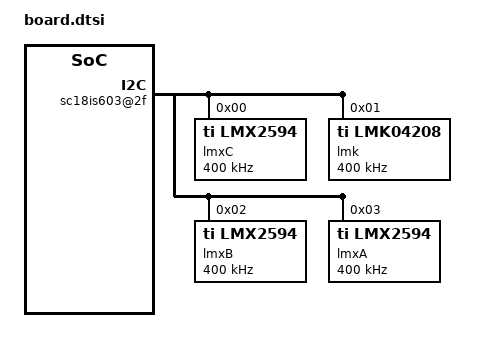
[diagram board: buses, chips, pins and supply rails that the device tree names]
/* ZCU111 board-specific device-tree nodes (appended to the SDT base dts). */

/ {
	reserved-memory {
		#address-cells = <2>;
		#size-cells = <2>;
		ranges;
		linux,cma {
			compatible = "shared-dma-pool";
			reusable;
			size = <0x0 0x20000000>;
			alignment = <0x0 0x2000>;
			/* Pin the cma pool to the low 2 GB DDR bank so the FPGA-manager
			 * bitstream DMA gets DMA-reachable contiguous memory. */
			alloc-ranges = <0x0 0x0 0x0 0x80000000>;
			linux,cma-default;
		};
	};
};

&{/axi/i2c@ff030000/i2c-mux@74/i2c@5/sc18is603@2f} {
	#address-cells = <0x1>;
	#size-cells = <0x0>;
	lmxC@0 {
		compatible = "ti,lmx2594";
		reg = <0x0>;
		spi-max-frequency = <400000>;
		num_bytes = <4>;
	};
	lmk@1 {
		compatible = "ti,lmk04208";
		reg = <0x1>;
		spi-max-frequency = <400000>;
		num_bytes = <4>;
	};
	lmxB@2 {
		compatible = "ti,lmx2594";
		reg = <0x2>;
		spi-max-frequency = <400000>;
		num_bytes = <4>;
	};
	lmxA@3 {
		compatible = "ti,lmx2594";
		reg = <0x3>;
		spi-max-frequency = <400000>;
		num_bytes = <4>;
	};
};
